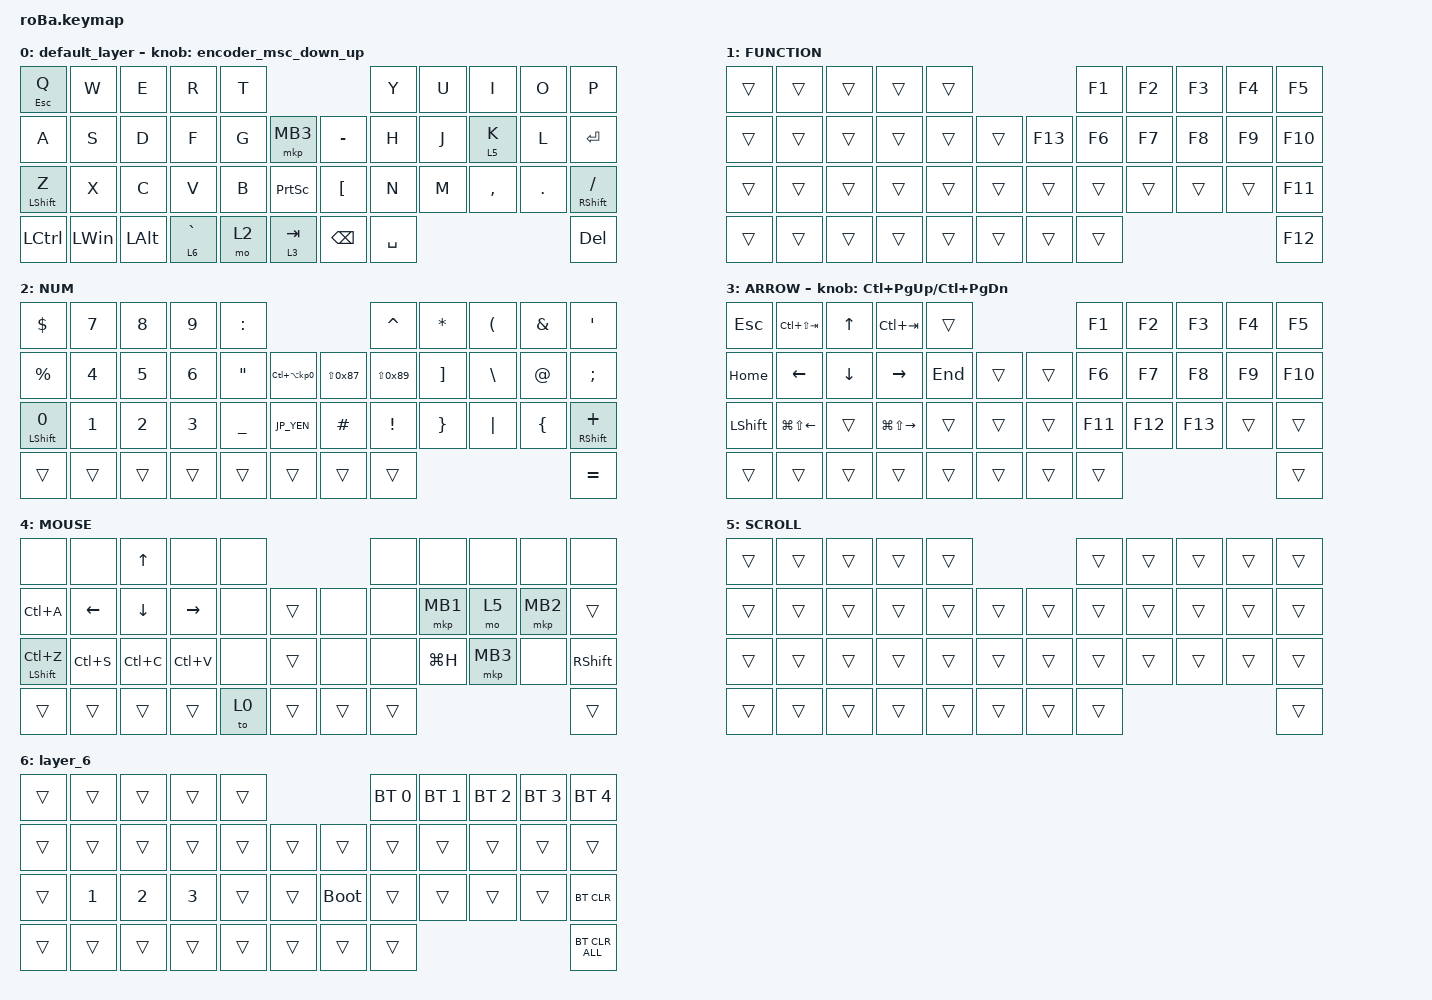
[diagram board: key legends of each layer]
// ========================================
// JIS Keyboard Layout Definitions
// ========================================

#define JP_DQUOTE           AT                  // "
#define JP_AMPERSAND        CARET               // &
#define JP_QUOTE            AMPERSAND           // '
#define JP_EQUAL            UNDERSCORE          // =
#define JP_CARET            EQUAL               // ^
#define JP_YEN              0x89                // ¥
#define JP_PLUS             COLON               // +
#define JP_TILDE            PLUS                // ~
#define JP_PIPE             LS(0x89)            // |
#define JP_AT               LEFT_BRACKET        // @
#define JP_COLON            SINGLE_QUOTE        // :
#define JP_ASTERISK         DOUBLE_QUOTES       // *
#define JP_BACKQUOTE        LEFT_BRACE          // `
#define JP_UNDERSCORE       LS(0x87)            // _
#define JP_LBRACKET         RIGHT_BRACKET       // [
#define JP_RBRACKET         BACKSLASH           // ]
#define JP_LPAREN           ASTERISK            // (
#define JP_RPAREN           LEFT_PARENTHESIS    // )
#define JP_LBRACE           RIGHT_BRACE         // {
#define JP_RBRACE           PIPE                // }
#define JP_KANA             LANGUAGE_1          // kana
#define JP_EISU             LANGUAGE_2          // eisu
#define JP_HANZEN           GRAVE               // hankaku/zenkaku

#include <behaviors.dtsi>
#include <dt-bindings/zmk/bt.h>
#include <dt-bindings/zmk/keys.h>
#include <dt-bindings/zmk/pointing.h>

#define ZMK_POINTING_DEFAULT_SCRL_VAL 80

&mt {
    flavor = "balanced";
    quick-tap-ms = <0>;
};

&trackball {
    automouse-layer = <4>;
    scroll-layers = <5>;

    // arrows {
    //     layers = <3>;
    //     bindings =
    //         <&kp RIGHT_ARROW>,
    //         <&kp LEFT_ARROW>,
    //         <&kp UP_ARROW>,
    //         <&kp DOWN_ARROW>;
    //     tick = <10>;
    //     wait-ms = <5>;
    //     tap-ms = <5>;
    // };
};

/ {
    combos {
        compatible = "zmk,combos";

        tab {
            bindings = <&kp TAB>;
            key-positions = <11 12>;
        };

        shift_tab {
            bindings = <&kp LS(TAB)>;
            key-positions = <12 13>;
        };

        muhennkann {
            bindings = <&to_layer_0 INT_MUHENKAN>;
            key-positions = <11 10>;
        };

        double_quotation {
            bindings = <&kp JP_DQUOTE>;
            key-positions = <20 21>;
        };

        eq {
            bindings = <&kp JP_EQUAL>;
            key-positions = <24 25>;
        };
    };

    macros {
        to_layer_0: to_layer_0 {
            compatible = "zmk,behavior-macro-one-param";
            #binding-cells = <1>;
            bindings = <&to 0 &macro_param_1to1 &kp MACRO_PLACEHOLDER>;
            label = "TO_LAYER_0";
        };
    };

    behaviors {
        lt_to_layer_0: lt_to_layer_0 {
            compatible = "zmk,behavior-hold-tap";
            label = "LAYER_TAP_TO_0";
            bindings = <&mo>, <&to_layer_0>;

            #binding-cells = <2>;
            tapping-term-ms = <200>;
        };

        encoder_msc_down_up: encoder_msc_down_up {
            compatible = "zmk,behavior-sensor-rotate";
            label = "ENCODER_MSC_DOWN_UP";
            #sensor-binding-cells = <0>;
            bindings = <&msc SCRL_DOWN>, <&msc SCRL_UP>;

            tap-ms = <20>;
        };
    };

    keymap {
        compatible = "zmk,keymap";

        default_layer {
            bindings = <
&mt ESCAPE Q      &kp W         &kp E         &kp R                       &kp T                                           &kp Y      &kp U  &kp I      &kp O    &kp P
&kp A             &kp S         &kp D         &kp F                       &kp G  &mkp MB3                  &kp MINUS      &kp H      &kp J  &lt 5 K    &kp L    &kp ENTER
&mt LEFT_SHIFT Z  &kp X         &kp C         &kp V                       &kp B  &kp PRINTSCREEN           &kp JP_AT      &kp N      &kp M  &kp COMMA  &kp DOT  &mt RIGHT_SHIFT SLASH
&kp LCTRL         &kp LEFT_WIN  &kp LEFT_ALT  &lt_to_layer_0 6 JP_HANZEN  &mo 2  &lt_to_layer_0 3 TAB      &kp BACKSPACE  &kp SPACE                             &kp DEL
            >;

            sensor-bindings = <&encoder_msc_down_up>;
        };

        FUNCTION {
            bindings = <
&trans  &trans  &trans  &trans  &trans                       &kp F1  &kp F2  &kp F3  &kp F4  &kp F5
&trans  &trans  &trans  &trans  &trans  &trans      &kp F13  &kp F6  &kp F7  &kp F8  &kp F9  &kp F10
&trans  &trans  &trans  &trans  &trans  &trans      &trans   &trans  &trans  &trans  &trans  &kp F11
&trans  &trans  &trans  &trans  &trans  &trans      &trans   &trans                          &kp F12
            >;
        };

        NUM {
            bindings = <
&kp DOLLAR         &kp N7        &kp N8        &kp N9        &kp JP_PLUS                                                      &kp JP_AMPERSAND  &kp JP_LPAREN    &kp JP_RPAREN    &kp JP_QUOTE      &kp JP_COLON
&kp PERCENT        &kp NUMBER_4  &kp N5        &kp NUMBER_6  &kp JP_ASTERISK  &kp LC(LA(KP_NUMBER_0))      &kp JP_UNDERSCORE  &kp JP_PIPE       &kp JP_LBRACKET  &kp JP_RBRACKET  &kp JP_DQUOTE     &kp SEMI
&mt LEFT_SHIFT N0  &kp NUMBER_1  &kp NUMBER_2  &kp NUMBER_3  &kp JP_EQUAL     &kp JP_YEN                   &kp HASH           &kp EXCL          &kp JP_LBRACE    &kp JP_RBRACE    &kp JP_BACKQUOTE  &mt RIGHT_SHIFT JP_TILDE
&trans             &trans        &trans        &trans        &trans           &trans                       &trans             &trans                                                                &kp JP_CARET
            >;
        };

        ARROW {
            bindings = <
&kp ESCAPE      &kp LC(LS(TAB))         &kp UP_ARROW    &kp LC(TAB)              &trans                       &kp F1   &kp F2   &kp F3   &kp F4  &kp F5
&kp HOME        &kp LEFT_ARROW          &kp DOWN_ARROW  &kp RIGHT_ARROW          &kp END  &trans      &trans  &kp F6   &kp F7   &kp F8   &kp F9  &kp F10
&kp LEFT_SHIFT  &kp LG(LS(LEFT_ARROW))  &trans          &kp LG(LS(RIGHT_ARROW))  &trans   &trans      &trans  &kp F11  &kp F12  &kp F13  &trans  &trans
&trans          &trans                  &trans          &trans                   &trans   &trans      &trans  &trans                             &trans
            >;

            sensor-bindings = <&inc_dec_kp LC(PAGE_UP) LC(PAGE_DOWN)>;
        };

        MOUSE {
            bindings = <
&none                 &none      &kp UP     &none      &none                      &none   &none      &none     &none     &none
&kp LC(A)             &kp LEFT   &kp DOWN   &kp RIGHT  &none  &trans      &none   &none   &mkp MB1   &mo 5     &mkp MB2  &trans
&mt LEFT_SHIFT LC(Z)  &kp LC(S)  &kp LC(C)  &kp LC(V)  &none  &trans      &none   &none   &kp LG(H)  &mkp MB3  &none     &kp RIGHT_SHIFT
&trans                &trans     &trans     &trans     &to 0  &trans      &trans  &trans                                 &trans
            >;
        };

        SCROLL {
            bindings = <
&trans  &trans  &trans  &trans  &trans                      &trans  &trans  &trans  &trans  &trans
&trans  &trans  &trans  &trans  &trans  &trans      &trans  &trans  &trans  &trans  &trans  &trans
&trans  &trans  &trans  &trans  &trans  &trans      &trans  &trans  &trans  &trans  &trans  &trans
&trans  &trans  &trans  &trans  &trans  &trans      &trans  &trans                          &trans
            >;
        };

        layer_6 {
            bindings = <
&trans  &trans        &trans        &trans        &trans                           &bt BT_SEL 0  &bt BT_SEL 1  &bt BT_SEL 2  &bt BT_SEL 3  &bt BT_SEL 4
&trans  &trans        &trans        &trans        &trans  &trans      &trans       &trans        &trans        &trans        &trans        &trans
&trans  &kp NUMBER_1  &kp NUMBER_2  &kp NUMBER_3  &trans  &trans      &bootloader  &trans        &trans        &trans        &trans        &bt BT_CLR
&trans  &trans        &trans        &trans        &trans  &trans      &trans       &trans                                                  &bt BT_CLR_ALL
            >;
        };
    };
};
